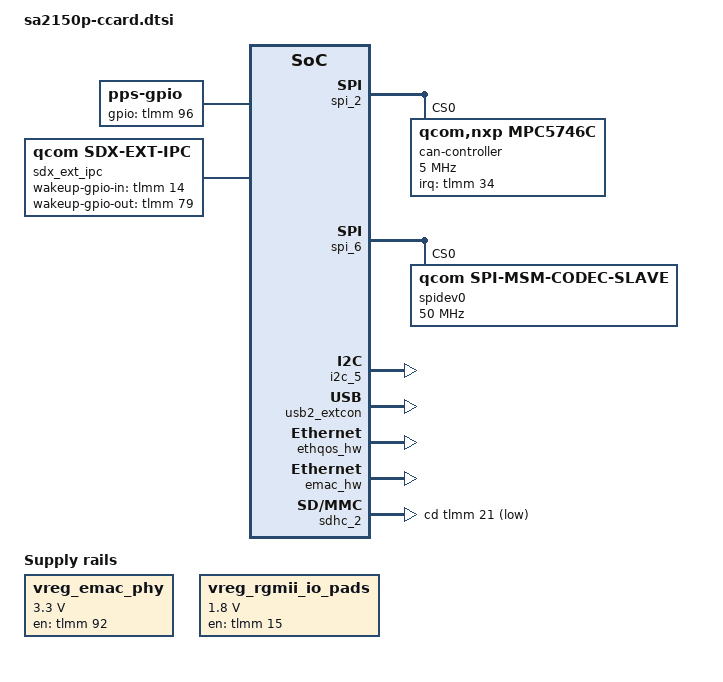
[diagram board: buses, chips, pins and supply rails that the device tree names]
/* Copyright (c) 2019-2020, The Linux Foundation. All rights reserved.
 * Copyright (C) 2021 XiaoMi, Inc.
 *
 * This program is free software; you can redistribute it and/or modify
 * it under the terms of the GNU General Public License version 2 and
 * only version 2 as published by the Free Software Foundation.
 *
 * This program is distributed in the hope that it will be useful,
 * but WITHOUT ANY WARRANTY; without even the implied warranty of
 * MERCHANTABILITY or FITNESS FOR A PARTICULAR PURPOSE.  See the
 * GNU General Public License for more details.
 */

#include "qcs405.dtsi"

&tlmm {
	pinctrl-0 = <&status_gpio>;
	pinctrl-names = "default";
	status_gpio: status_gpio {
		ap2mdm_status {
			pins = "gpio80";
			function = "gpio";
			drive-strength = <8>;
			bias-pull-up;
			output-high;
		};
	};

	sdx_ext_ipc_gpio_default: sdx_ext_ipc_gpio_default {
		mux {
			pins = "gpio14", "gpio79";
			function = "gpio";
		};

		config {
			pins = "gpio14", "gpio79";
			drive-strength = <2>;
			bias-pull-down;
		};
	};
};

&pcie0_perst_default {
	mux {
		pins = "gpio107";
		function = "gpio";
	};

	config {
		pins = "gpio107";
		drive-strength = <2>;
		bias-disable;
	};
};

&pcie0_wake_default {
	mux {
		pins = "gpio115";
		function = "gpio";

	};

	config {
		pins = "gpio115";
		drive-strength = <2>;
		bias-pull-down;
	};
};

&usb3_id_det_default {
	mux {
		pins = "gpio113";
		function = "gpio";
	};

	config {
		pins = "gpio113";
		drive-strength = <2>;
		bias-pull-up;
		input-enable;
	};
};

&spi_1 {
	status = "disabled";
};

&i2c_3 {
	status = "disabled";
};

&smb1351_otg_supply {
	status = "disabled";
};

&cnss_sdio {
	status = "disabled";
};

&spi_2 {
	status = "okay";

	can-controller@0 {
		compatible = "qcom,nxp,mpc5746c";
		reg = <0>;
		interrupt-parent = <&tlmm>;
		interrupts = <34 0>;
		spi-max-frequency = <5000000>;
		qcom,clk-freq-mhz = <40000000>;
		qcom,max-can-channels = <2>;
		qcom,bits-per-word = <8>;
		qcom,support-can-fd;
	};
};

&spi_6 {
	status = "okay";

	spidev0: spidev@0 {
		compatible = "qcom,spi-msm-codec-slave";
		reg = <0>;
		spi-max-frequency = <50000000>;
	};
};

&i2c_5 {
	status = "okay";
	qcom,clk-freq-out = <100000>;
};

&soc {
	gpio_keys {
		status = "disabled";
	};

	vreg_emac_phy: emac_phy_regulator {
		compatible = "regulator-fixed";
		regulator-name = "emac_phy";
		regulator-min-microvolt = <3300000>;
		regulator-max-microvolt = <3300000>;
		regulator-enable-ramp-delay = <100>;
		gpio = <&tlmm 92 GPIO_ACTIVE_HIGH>;
		enable-active-high;
	};

	vreg_rgmii_io_pads: rgmii_io_pads_regulator {
		compatible = "regulator-fixed";
		regulator-name = "rgmii_io_pads";
		regulator-min-microvolt = <1800000>;
		regulator-max-microvolt = <1800000>;
		regulator-enable-ramp-delay = <100>;
		gpio = <&tlmm 15 GPIO_ACTIVE_HIGH>;
		enable-active-high;
	};

	usb2_extcon: usb2_extcon {
		compatible = "linux,extcon-usb-gpio";
		id-gpio = <&tlmm 53 GPIO_ACTIVE_HIGH>;
		vbus-gpio = <&tlmm 116 GPIO_ACTIVE_HIGH>;
		vbus-out-gpio = <&tlmm 108 GPIO_ACTIVE_HIGH>;

		pinctrl-names = "default";
		pinctrl-0 = <&usb2_vbus_det_default
				&usb2_id_det_default
				&usb2_vbus_boost_default>;
	};

	pps {
		compatible = "pps-gpio";
		gpios = <&tlmm 96 GPIO_ACTIVE_HIGH>;
		status = "okay";
	};

	qmi-tmd-devices {

		/delete-node/ modem;

		adsp {
			qcom,instance-id = <0x1>;

			adsp_vdd: adsp-vdd {
				qcom,qmi-dev-name = "cpuv_restriction_cold";
				#cooling-cells = <2>;
			};
		};
	};

	sdx_ext_ipc: qcom,sdx_ext_ipc {
		compatible = "qcom,sdx-ext-ipc";
		qcom,wakeup-gpio-in = <&tlmm 14 0x00>;
		qcom,wakeup-gpio-out = <&tlmm 79 0x00>;
		pinctrl-names = "default";
		pinctrl-0 = <&sdx_ext_ipc_gpio_default>;
	};
};

&thermal_zones {
	aoss-lowf {
		cooling-maps {

			/delete-node/ modem_vdd_cdev;

			adsp_vdd_cdev {
				trip = <&aoss_lowf>;
				cooling-device = <&adsp_vdd 0 0>;
			};
		};
	};
};

#include "sdxprairie-thermal-common.dtsi"

&usb3 {
	qcom,ignore-wakeup-src-in-hostmode;
};

&usb3_extcon {
	id-gpio = <&tlmm 113 GPIO_ACTIVE_HIGH>;
};

&usb2s {
	extcon = <&usb2_extcon>;
};

&ethqos_hw {
	status = "okay";
	vreg_emac_phy-supply = <&vreg_emac_phy>;
	vreg_rgmii_io_pads-supply = <&vreg_rgmii_io_pads>;
	rxc-skew-ps = <0>;

	pinctrl-names = "dev-emac-mdc", "dev-emac-mdio",
		"dev-emac-rgmii_txd0_state", "dev-emac-rgmii_txd1_state",
		"dev-emac-rgmii_txd2_state", "dev-emac-rgmii_txd3_state",
		"dev-emac-rgmii_txc_state",  "dev-emac-rgmii_tx_ctl_state",
		"dev-emac-rgmii_rxd0_state", "dev-emac-rgmii_rxd1_state",
		"dev-emac-rgmii_rxd2_state", "dev-emac-rgmii_rxd3_state",
		"dev-emac-rgmii_rxc_state", "dev-emac-rgmii_rx_ctl_state",
		"dev-emac-phy_intr", "dev-emac-phy_reset_state";
	pinctrl-15 = <&emac_phy_reset_state>;
};

&emac_hw {
	status = "okay";
	vreg_emac_phy-supply = <&vreg_emac_phy>;
	vreg_rgmii_io_pads-supply = <&vreg_rgmii_io_pads>;
	qcom,phy-reset-delay-msecs = <10>;
	rxc-skew-ps = <0>;

	pinctrl-names = "dev-emac-mdc", "dev-emac-mdio",
		"dev-emac-rgmii_txd0_state", "dev-emac-rgmii_txd1_state",
		"dev-emac-rgmii_txd2_state", "dev-emac-rgmii_txd3_state",
		"dev-emac-rgmii_txc_state",  "dev-emac-rgmii_tx_ctl_state",
		"dev-emac-rgmii_rxd0_state", "dev-emac-rgmii_rxd1_state",
		"dev-emac-rgmii_rxd2_state", "dev-emac-rgmii_rxd3_state",
		"dev-emac-rgmii_rxc_state", "dev-emac-rgmii_rx_ctl_state",
		"dev-emac-phy_intr", "dev-emac-phy_reset_state";
	pinctrl-15 = <&emac_phy_reset_state>;
};

&pcie0 {
	pinctrl-0 = <&pcie0_perst_default
		     &pcie0_wake_default>;

	perst-gpio = <&tlmm 107 0>;
	wake-gpio = <&tlmm 115 0>;
};

&sdhc_2 {
	/delete-property/ qcom,nonhotplug;
	/delete-property/ qcom,nonremovable;

	vdd-io-supply = <&pms405_l11>;
	qcom,vdd-io-voltage-level = <2950000 2950000>;
	pinctrl-0 = <&sdc2_clk_on &sdc2_cmd_on &sdc2_data_on
		    &sdc2_cd_on>;
	pinctrl-1 = <&sdc2_clk_off &sdc2_cmd_off &sdc2_data_off
		    &sdc2_cd_off>;
	cd-gpios = <&tlmm 21 GPIO_ACTIVE_LOW>;

	status = "ok";
};

&rpm_bus {
	rpm-regulator-ldoa1 {
		status = "disabled";
		pms405_l1: regulator-l1 {
			status = "disabled";
		};
	};

	rpm-regulator-ldoa2 {
		status = "disabled";
		pms405_l2: regulator-l2 {
			status = "disabled";
		};
	};

	rpm-regulator-ldoa7 {
		status = "disabled";
		pms405_l7: regulator-l7 {
			status = "disabled";
		};
	};

	rpm-regulator-ldoa10 {
		status = "disabled";
		pms405_l10: regulator-l10 {
			status = "disabled";
		};
	};
};

&pms405_vadc {
	pa_therm1 {
			/delete-property/ qcom,ratiometric;
			/delete-property/ qcom,hw-settle-time;
			label = "pa_therm1";
			reg = <ADC_AMUX_THM1>;
			qcom,pre-scaling = <1 1>;
	};

	pa_therm3 {
			/delete-property/ qcom,ratiometric;
			/delete-property/ qcom,hw-settle-time;
			label = "pa_therm3";
			reg = <ADC_AMUX_THM3>;
			qcom,pre-scaling = <1 1>;
	};
};
